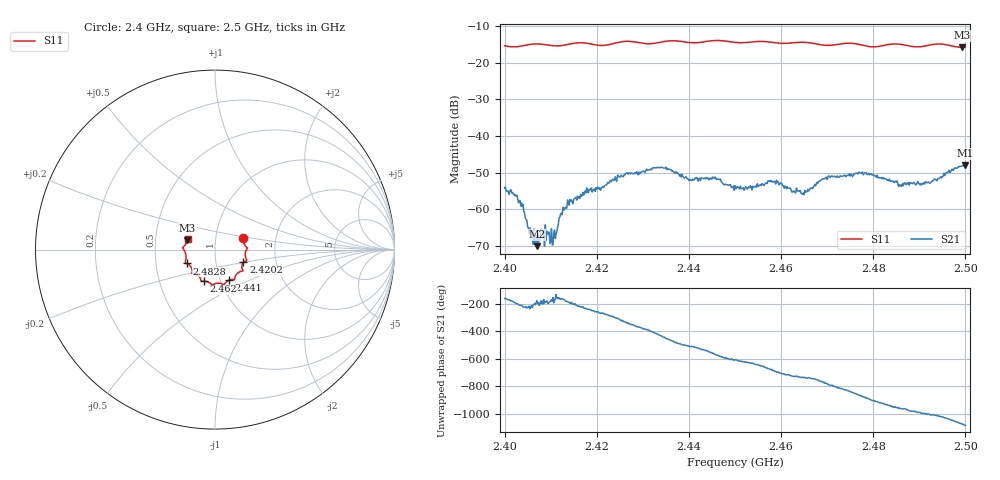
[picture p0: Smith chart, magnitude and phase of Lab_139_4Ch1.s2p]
# Hz S RI R 50
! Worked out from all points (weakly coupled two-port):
!   601 points, 2.4 GHz to 2.5 GHz, reference 50 ohm
!   highest |S21| = -48.08 dB at 2.5 GHz (marker M1); lowest = -70.1 dB at 2.407 GHz (marker M2)
!   lowest |S11| = -15.8 dB at 2.4993 GHz (marker M3), VSWR 1.39, Z = 36.5 + j3.84 ohm
!   |S11| at or under -10 dB: start of sweep to end of sweep
!   S12 and S22 are empty: the file has one direction only
!   S11 on the Smith chart (normalised r, x): 2.4 GHz: 1.36, +0.18; 2.4202 GHz: 1.36, -0.20; 2.441 GHz: 1.10, -0.39; 2.462 GHz: 0.84, -0.30; 2.4828 GHz: 0.72, -0.11; 2.5 GHz: 0.73, +0.09
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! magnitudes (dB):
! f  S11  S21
! 2.4 GHz  -15.4  -54.3
! 2.4028 GHz  -15.6  -57.1
! 2.4057 GHz  -15.0  -65.8
! 2.407 GHz  -14.9  -70.1
! 2.4083 GHz  -15.0  -65.7
! 2.4108 GHz  -15.4  -65.7
! 2.4132 GHz  -15.1  -59.5
! 2.4167 GHz  -14.5  -56.6
! 2.4202 GHz  -15.2  -54.0
! 2.4333 GHz  -14.5  -48.6
! 2.441 GHz  -14.6  -52.1
! 2.45 GHz  -14.4  -53.6
! 2.4577 GHz  -14.4  -52.6
! 2.462 GHz  -14.6  -54.2
! 2.4667 GHz  -14.6  -54.2
! 2.4693 GHz  -15.2  -51.7
! 2.4767 GHz  -14.9  -50.4
! 2.4828 GHz  -15.1  -51.8
! 2.4833 GHz  -15.0  -52.3
! 2.4907 GHz  -15.5  -53.0
! 2.4993 GHz  -15.8  -48.2
! 2.5 GHz  -15.7  -48.1
